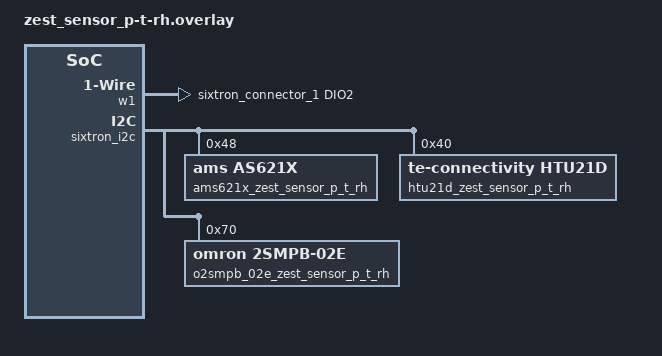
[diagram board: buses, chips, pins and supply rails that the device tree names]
/*
 * Copyright (c) 2024 CATIE
 *
 * SPDX-License-Identifier: Apache-2.0
 */

#include <zephyr/dt-bindings/gpio/sixtron-header.h>

/ {
	w1: w1 {
		compatible = "zephyr,w1-gpio";
		gpios = <&sixtron_connector_1 DIO2 (GPIO_ACTIVE_HIGH | GPIO_OPEN_DRAIN | GPIO_PULL_UP)>;
	};

	aliases {
		ams621x = &ams621x_zest_sensor_p_t_rh;
		htu21d = &htu21d_zest_sensor_p_t_rh;
		o2smpb-02e = &o2smpb_02e_zest_sensor_p_t_rh;
	};
};

&sixtron_i2c {
	status = "okay";

	ams621x_zest_sensor_p_t_rh: as621x@48 {
		compatible = "ams,as621x";
		reg = <0x48>;
	};

	htu21d_zest_sensor_p_t_rh: htu21d@40 {
		compatible = "te-connectivity,htu21d";
		reg = <0x40>;
	};

	o2smpb_02e_zest_sensor_p_t_rh: o2smpb-02e@70 {
		compatible = "omron,2smpb-02e";
		reg = <0x70>;
	};
};
